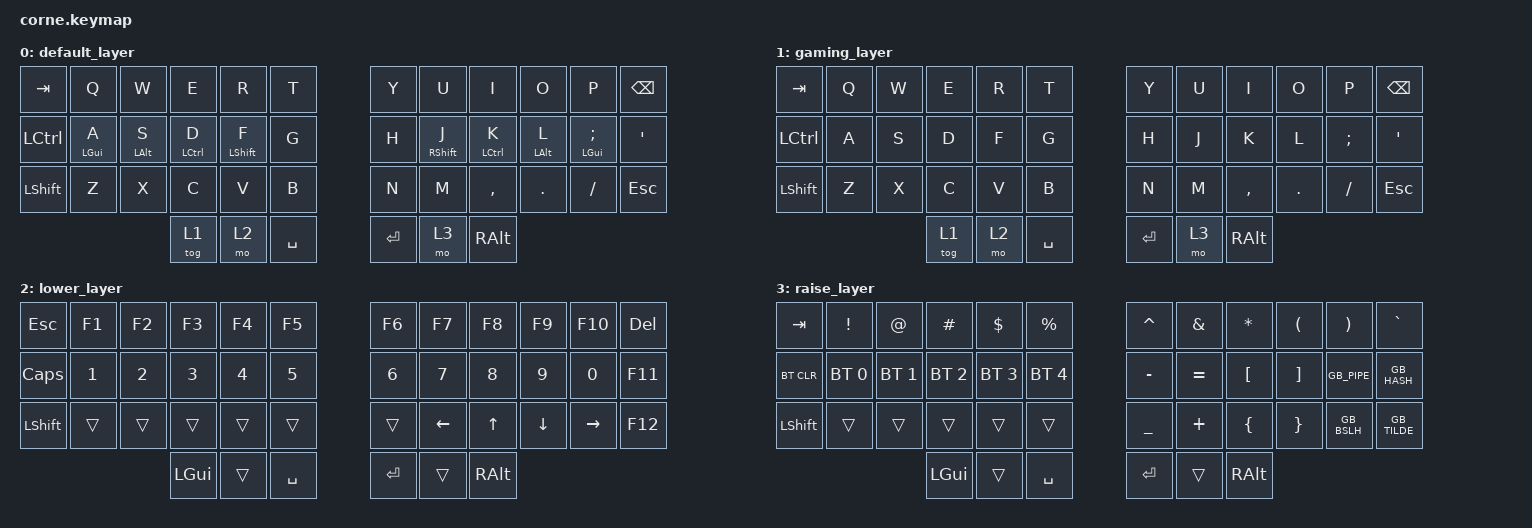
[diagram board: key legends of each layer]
/*
 * Copyright (c) 2020 The ZMK Contributors
 *
 * SPDX-License-Identifier: MIT
 */

#include <behaviors.dtsi>
#include <dt-bindings/zmk/keys.h>
#include <dt-bindings/zmk/bt.h>

#include <locale/keys_en_gb.h>

/ {
    behaviors {
        hml: home_row_mod_left {
            compatible = "zmk,behavior-hold-tap";
            #binding-cells = <2>;
            flavor = "balanced";
            require-prior-idle-ms = <150>;
            tapping-term-ms = <280>;
            quick-tap-ms = <175>;
            bindings = <&kp>, <&kp>;
            hold-trigger-key-positions = < 6 7 8 9 10 11 18 19 20 21 22 23 30 31 32 33 34 35 >; // List of keys on the right side of the keyboard
            hold-trigger-on-release;
        };
        hmr: home_row_mod_right {
            compatible = "zmk,behavior-hold-tap";
            #binding-cells = <2>;
            flavor = "balanced";
            require-prior-idle-ms = <150>;
            tapping-term-ms = <280>;
            quick-tap-ms = <175>;
            bindings = <&kp>, <&kp>;
            hold-trigger-key-positions = < 0 1 2 3 4 5 12 13 14 15 16 17 24 25 26 27 28 29 >; // List of keys on the left side of the keyboard
            hold-trigger-on-release;
        };
    };
};

/ {
        keymap {
                compatible = "zmk,keymap";

                default_layer {
// -----------------------------------------------------------------------------------------
// |  TAB |  Q  |  W  |  E  |  R  |  T  |   |  Y  |  U   |  I  |  O  |  P  | BSPC |
// | CTRL |  A  |  S  |  D  |  F  |  G  |   |  H  |  J   |  K  |  L  |  ;  |  '   |
// | SHFT |  Z  |  X  |  C  |  V  |  B  |   |  N  |  M   |  ,  |  .  |  /  | ESC  |
//                    | GUI | LWR | SPC |   | ENT | RSE  | ALT |
                        bindings = <
   &kp TAB   &kp Q       &kp W        &kp E        &kp R          &kp T        &kp Y  &kp U          &kp I         &kp O           &kp P           &kp BSPC
   &kp LCTRL &hml LGUI A &hml LALT S  &hml LCTRL D &hml LSHIFT F  &kp G        &kp H  &hmr RSHIFT J  &hmr LCTRL K  &hmr LALT L     &hmr LGUI SEMI  &kp SQT
   &kp LSHFT &kp Z       &kp X        &kp C        &kp V          &kp B        &kp N  &kp M          &kp COMMA     &kp DOT         &kp FSLH        &kp ESC
                                                 &tog 1 &mo 2 &kp SPACE        &kp RET &mo 3 &kp RALT
                        >;
                };

                 gaming_layer {
// -----------------------------------------------------------------------------------------
// |  TAB |  Q  |  W  |  E  |  R  |  T  |   |  Y  |  U   |  I  |  O  |  P  | BSPC |
// | CTRL |  A  |  S  |  D  |  F  |  G  |   |  H  |  J   |  K  |  L  |  ;  |  '   |
// | SHFT |  Z  |  X  |  C  |  V  |  B  |   |  N  |  M   |  ,  |  .  |  /  | ESC  |
//                    | GUI | LWR | SPC |   | ENT | RSE  | ALT |
                        bindings = <
   &kp TAB   &kp Q &kp W &kp E &kp R  &kp T      &kp Y         &kp U         &kp I         &kp O       &kp P     &kp BSPC
   &kp LCTRL &kp A &kp S &kp D &kp F  &kp G      &kp H         &kp J         &kp K         &kp L       &kp SEMI  &kp SQT
   &kp LSHFT &kp Z &kp X &kp C &kp V  &kp B      &kp N         &kp M         &kp COMMA     &kp DOT     &kp FSLH  &kp ESC
                                      &tog 1 &mo 2 &kp SPACE    &kp RET &mo 3 &kp RALT
                        >;
                };
                                
                lower_layer {
// -----------------------------------------------------------------------------------------
// |  ESC |  F1 | F2  | F3  | F4  | F5  |   | F6  | F7  | F8  | F9  | F10 | DEL  |
// | CAPS |   1 |  2  |  3  |  4  |  5  |   |  6  |  7  |  8  |  9  |  0  | F11  | 
// | SHFT |     |     |     |     |     |   |     | LFT | UP  | DWN | RGT | F12  | 
//                    |     |     | SPC |   | ENT |     | ALT |
                        bindings = <
   &kp  ESC   &kp F1      &kp F2      &kp F3      &kp F4      &kp F5        &kp F6    &kp F7   &kp F8   &kp F9    &kp F10   &kp DEL
   &kp CAPS   &kp N1      &kp N2      &kp N3      &kp N4      &kp N5        &kp N6    &kp N7   &kp N8   &kp N9    &kp N0    &kp F11
   &kp LSHFT  &trans      &trans      &trans      &trans      &trans        &trans    &kp LEFT &kp UP   &kp DOWN  &kp RIGHT &kp F12
                                      &kp LGUI    &trans      &kp SPACE     &kp RET   &trans   &kp RALT
                        >;
                };

                raise_layer {
// -----------------------------------------------------------------------------------------
// |  TAB |  !  |  @  |  £  |  $  |  %  |   |  ^  |  &  |  *  |  (  |  )  |  `   |
// | BTCLR| BT1 | BT2 | BT3 | BT4 | BT5 |   |  -  |  =  |  [  |  ]  | "|" |  #   |
// | SHFT |     |     |     |     |     |   |  _  |  +  |  {  |  }  |  \  |  ~   |
//                    | GUI |     | SPC |   | ENT |     | ALT |
                        bindings = <
   &kp  TAB   &kp EXCL     &kp AT &kp HASH &kp DLLR     &kp PRCNT                  &kp CARET &kp AMPS  &kp ASTRK &kp LPAR &kp RPAR    &kp GRAVE
   &bt BT_CLR &bt BT_SEL 0 &bt BT_SEL 1    &bt BT_SEL 2 &bt BT_SEL 3 &bt BT_SEL 4  &kp MINUS &kp EQUAL &kp LBKT  &kp RBKT &kp GB_PIPE &kp GB_HASH
   &kp LSHFT  &trans       &trans &trans   &trans       &trans                     &kp UNDER &kp PLUS  &kp LBRC  &kp RBRC &kp GB_BSLH &kp GB_TILDE
                                  &kp LGUI &trans       &kp SPACE                  &kp RET   &trans    &kp RALT
                        >;
                };
                
        };
};
